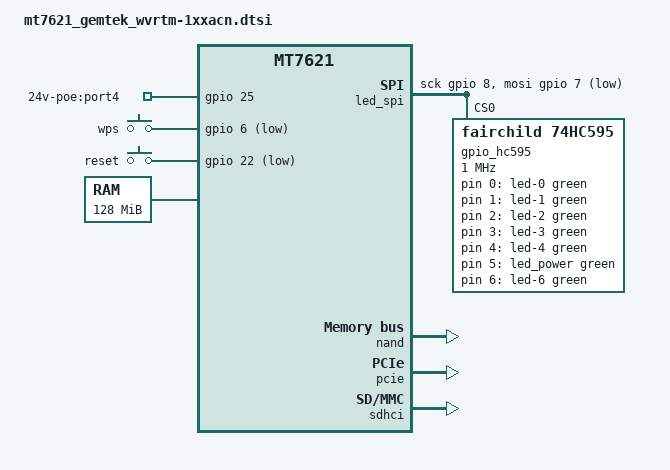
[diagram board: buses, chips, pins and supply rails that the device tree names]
// SPDX-License-Identifier: GPL-2.0-or-later OR MIT

#include "mt7621.dtsi"
#include <dt-bindings/gpio/gpio.h>
#include <dt-bindings/input/input.h>
#include <dt-bindings/leds/common.h>

/ {
	aliases {
		led-boot = &led_power;
		led-failsafe = &led_power;
		led-running = &led_power;
		led-upgrade = &led_power;
		label-mac-device = &gmac0;
	};

	chosen {
		bootargs-override = "console=ttyS0,115200n1";
	};

	gpio-export {
		compatible = "gpio-export";

		poe_24v_port4 {
			gpio-export,name = "24v-poe:port4";
			gpio-export,output = <0>;
			gpios = <&gpio 25 GPIO_ACTIVE_HIGH>;
		};
	};

	keys: keys {
		compatible = "gpio-keys";

		button-0 {
			label = "wps";
			gpios = <&gpio 6 GPIO_ACTIVE_LOW>;
			linux,code = <KEY_WPS_BUTTON>;
		};

		button-1 {
			label = "reset";
			gpios = <&gpio 22 GPIO_ACTIVE_LOW>;
			linux,code = <KEY_RESTART>;
		};
	};

	led_spi {
		compatible = "spi-gpio";
		#address-cells = <1>;
		#size-cells = <0>;

		sck-gpios = <&gpio 8 GPIO_ACTIVE_HIGH>;
		mosi-gpios = <&gpio 7 GPIO_ACTIVE_LOW>;
		num-chipselects = <0>;

		gpio_hc595: gpio_hc595@0 {
			compatible = "fairchild,74hc595";
			reg = <0>;
			gpio-controller;
			#gpio-cells = <2>;
			registers-number = <1>;
			spi-max-frequency = <1000000>;
		};
	};

	leds: leds {
		compatible = "gpio-leds";

		led-0 {
			gpios = <&gpio_hc595 0 GPIO_ACTIVE_HIGH>;
			function = LED_FUNCTION_INDICATOR;
			color = <LED_COLOR_ID_GREEN>;
			function-enumerator = <0>;
		};

		led-1 {
			gpios = <&gpio_hc595 1 GPIO_ACTIVE_HIGH>;
			function = LED_FUNCTION_INDICATOR;
			color = <LED_COLOR_ID_GREEN>;
			function-enumerator = <1>;
		};

		led-2 {
			gpios = <&gpio_hc595 2 GPIO_ACTIVE_HIGH>;
			function = LED_FUNCTION_INDICATOR;
			color = <LED_COLOR_ID_GREEN>;
			function-enumerator = <2>;
		};

		led-3 {
			gpios = <&gpio_hc595 3 GPIO_ACTIVE_HIGH>;
			function = LED_FUNCTION_INDICATOR;
			color = <LED_COLOR_ID_GREEN>;
			function-enumerator = <3>;
		};

		led-4 {
			gpios = <&gpio_hc595 4 GPIO_ACTIVE_HIGH>;
			function = LED_FUNCTION_INDICATOR;
			color = <LED_COLOR_ID_GREEN>;
			function-enumerator = <4>;
		};

		led_power: led-5 {
			gpios = <&gpio_hc595 5 GPIO_ACTIVE_HIGH>;
			function = LED_FUNCTION_POWER;
			color = <LED_COLOR_ID_GREEN>;
		};

		led-6 {
			gpios = <&gpio_hc595 6 GPIO_ACTIVE_HIGH>;
			function = LED_FUNCTION_STATUS;
			color = <LED_COLOR_ID_GREEN>;
		};
	};

	memory@0 {
		device_type = "memory";
		reg = <0x0 0x8000000>;
	};

	ubi-concat {
		compatible = "mtd-concat";
		devices = <&ubiconcat0 &ubiconcat1 &ubiconcat2 &ubiconcat3>;

		partitions {
			compatible = "fixed-partitions";
			#address-cells = <1>;
			#size-cells = <1>;

			partition@0 {
				label = "ubi";
				reg = <0x0 0x7380000>;
			};
		};
	};
};

&ethernet {
	pinctrl-0 = <&mdio_pins>, <&rgmii1_pins>;
};

&gmac0 {
	nvmem-cells = <&macaddr_factory_e000>;
	nvmem-cell-names = "mac-address";
};

&nand {
	status = "okay";

	partitions {
		compatible = "fixed-partitions";
		#address-cells = <1>;
		#size-cells = <1>;

		partition@0 {
			label = "u-boot";
			reg = <0x0 0x100000>;
			read-only;
		};

		partition@100000 {
			label = "u-boot2";
			reg = <0x100000 0x100000>;
			read-only;
		};

		partition@200000 {
			label = "factory";
			reg = <0x200000 0x100000>;
			read-only;

			nvmem_layout: nvmem-layout {
				compatible = "fixed-layout";
				#address-cells = <1>;
				#size-cells = <1>;

				eeprom_factory_0: eeprom@0 {
					reg = <0x0 0x200>;
				};

				macaddr_factory_4: eeprom@4 {
					reg = <0x4 0x6>;
				};

				macaddr_factory_e000: macaddr@e000 {
					reg = <0xe000 0x6>;
				};
			};
		};

		partition@300000 {
			label = "u-boot-env";
			reg = <0x300000 0x280000>;
			read-only;
		};

		partition@580000 {
			label = "u-boot-env2";
			reg = <0x580000 0x280000>;
			read-only;
		};

		partition@800000 {
			label = "firmware";
			reg = <0x800000 0x2000000>;

			compatible = "fixed-partitions";
			#address-cells = <1>;
			#size-cells = <1>;

			partition@0 {
				label = "kernel";
				reg = <0x0 0x400000>;
			};

			ubiconcat0: partition@400000 {
				label = "ubiconcat0";
				reg = <0x400000 0x1c00000>;
			};
		};

		ubiconcat1: partition@2800000 {
			label = "Kernel2";
			reg = <0x2800000 0x2000000>;
		};

		ubiconcat2: partition@4800000 {
			label = "Storage1";
			reg = <0x4800000 0x1c00000>;
		};

		ubiconcat3: partition@6400000 {
			label = "Storage2";
			reg = <0x6400000 0x1b80000>;
		};
	};
};

&pcie {
	status = "okay";
};

&sdhci {
	status = "okay";
};

&state_default {
	gpio {
		groups = "rgmii2", "uart3";
		function = "gpio";
	};
};

&switch0 {
	ports: ports {
		port@4 {
			status = "okay";
			label = "wan";
			nvmem-cells = <&macaddr_factory_e000>;
			nvmem-cell-names = "mac-address";
		};
	};
};
